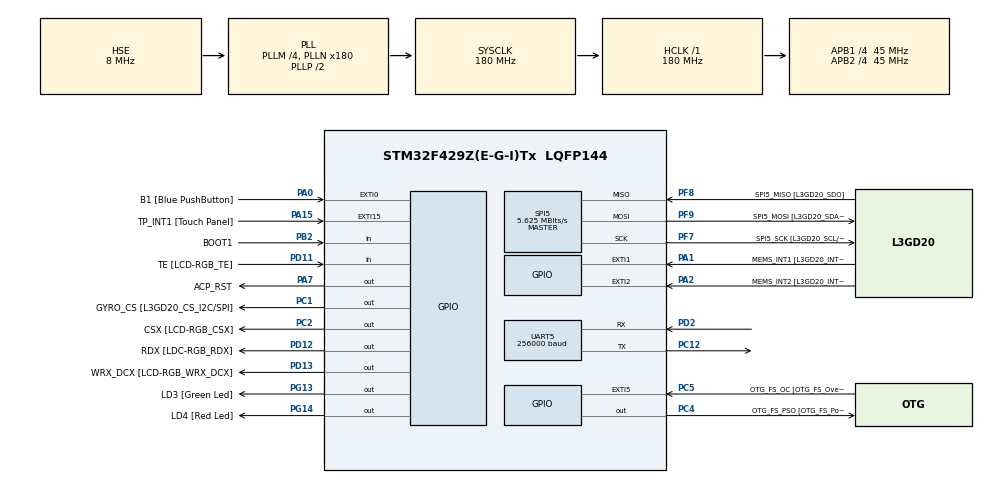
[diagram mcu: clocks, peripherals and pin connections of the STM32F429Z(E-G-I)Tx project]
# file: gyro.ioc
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Mcu.Family=STM32F4
Mcu.Name=STM32F429Z(E-G-I)Tx
Mcu.Package=LQFP144
NVIC.EXTI0_IRQn=true\:0\:0\:false\:false\:true
NVIC.EXTI2_IRQn=true\:0\:0\:false\:false\:true
NVIC.PriorityGroup=NVIC_PRIORITYGROUP_0
NVIC.UART5_IRQn=true\:0\:0\:false\:false\:true
PA0/WKUP.GPIO_Label=B1 [Blue PushButton]
PA0/WKUP.GPIO_ModeDefaultEXTI=GPIO_MODE_IT_RISING
PA0/WKUP.GPIO_PuPd=GPIO_NOPULL
PA0/WKUP.Signal=GPXTI0
PA1.GPIO_Label=MEMS_INT1 [L3GD20_INT1]
PA1.GPIO_ModeDefaultEXTI=GPIO_MODE_EVT_RISING
PA1.GPIO_PuPd=GPIO_NOPULL
PA1.Signal=GPXTI1
PA10.GPIO_Label=STLINK_TX [STM32F103CBT6_PA2]
PA10.Signal=USART1_RX
PA11.GPIO_Label=R4
PA11.GPIO_Mode=GPIO_MODE_AF_PP
PA11.GPIO_PuPd=GPIO_NOPULL
PA11.GPIO_Speed=GPIO_SPEED_FREQ_LOW
PA11.Signal=LTDC_R4
PA12.GPIO_Label=R5
PA12.GPIO_Mode=GPIO_MODE_AF_PP
PA12.GPIO_PuPd=GPIO_NOPULL
PA12.GPIO_Speed=GPIO_SPEED_FREQ_LOW
PA12.Signal=LTDC_R5
PA13.GPIO_Label=SWDIO
PA13.Signal=SYS_JTMS-SWDIO
PA14.GPIO_Label=SWCLK
PA14.Signal=SYS_JTCK-SWCLK
PA15.GPIO_Label=TP_INT1 [Touch Panel]
PA15.GPIO_ModeDefaultEXTI=GPIO_MODE_EVT_RISING
PA15.GPIO_PuPd=GPIO_NOPULL
PA15.Signal=GPXTI15
PA2.GPIO_Label=MEMS_INT2 [L3GD20_INT2]
PA2.GPIO_ModeDefaultEXTI=GPIO_MODE_IT_RISING
PA2.GPIO_PuPd=GPIO_NOPULL
PA2.Signal=GPXTI2
PA3.GPIO_Label=B5
PA3.GPIO_Mode=GPIO_MODE_AF_PP
PA3.GPIO_PuPd=GPIO_NOPULL
PA3.GPIO_Speed=GPIO_SPEED_FREQ_LOW
PA3.Signal=LTDC_B5
PA4.GPIO_Label=VSYNC
PA4.GPIO_Mode=GPIO_MODE_AF_PP
PA4.GPIO_PuPd=GPIO_NOPULL
PA4.GPIO_Speed=GPIO_SPEED_FREQ_LOW
PA4.Signal=LTDC_VSYNC
PA6.GPIO_Label=G2
PA6.GPIO_Mode=GPIO_MODE_AF_PP
PA6.GPIO_PuPd=GPIO_NOPULL
PA6.GPIO_Speed=GPIO_SPEED_FREQ_LOW
PA6.Signal=LTDC_G2
PA7.GPIO_Label=ACP_RST
PA7.GPIO_Mode=GPIO_MODE_OUTPUT_PP
PA7.GPIO_PuPd=GPIO_NOPULL
PA7.GPIO_Speed=GPIO_SPEED_FREQ_LOW
PA7.Signal=GPIO_Output
PA8.GPIO_Label=I2C3_SCL [ACP/RF_SCL]
PA8.GPIO_Mode=GPIO_MODE_AF_OD
PA8.GPIO_PuPd=GPIO_NOPULL
PA8.GPIO_Speed=GPIO_SPEED_FREQ_LOW
PA8.Signal=I2C3_SCL
PA9.GPIO_Label=STLINK_RX [STM32F103CBT6_PA3]
PA9.Signal=USART1_TX
PB0.GPIO_Label=R3
PB0.GPIO_Mode=GPIO_MODE_AF_PP
PB0.GPIO_PuPd=GPIO_NOPULL
PB0.GPIO_Speed=GPIO_SPEED_FREQ_LOW
PB0.Signal=LTDC_R3
PB1.GPIO_Label=R6
PB1.GPIO_Mode=GPIO_MODE_AF_PP
PB1.GPIO_PuPd=GPIO_NOPULL
PB1.GPIO_Speed=GPIO_SPEED_FREQ_LOW
PB1.Signal=LTDC_R6
PB10.GPIO_Label=G4
PB10.GPIO_Mode=GPIO_MODE_AF_PP
PB10.GPIO_PuPd=GPIO_NOPULL
PB10.GPIO_Speed=GPIO_SPEED_FREQ_LOW
PB10.Signal=LTDC_G4
PB11.GPIO_Label=G5
PB11.GPIO_Mode=GPIO_MODE_AF_PP
PB11.GPIO_PuPd=GPIO_NOPULL
PB11.GPIO_Speed=GPIO_SPEED_FREQ_LOW
PB11.Signal=LTDC_G5
PB12.GPIO_Label=OTG_FS_ID
PB12.GPIO_Mode=GPIO_MODE_AF_PP
PB12.GPIO_PuPd=GPIO_NOPULL
PB12.GPIO_Speed=GPIO_SPEED_FREQ_LOW
PB12.Signal=USB_OTG_HS_ID
PB13.GPIO_Label=VBUS_FS
PB13.GPIO_Mode=GPIO_MODE_INPUT
PB13.GPIO_PuPd=GPIO_NOPULL
PB13.Signal=USB_OTG_HS_VBUS
PB14.GPIO_Label=OTG_FS_DM
PB14.GPIO_Mode=GPIO_MODE_AF_PP
PB14.GPIO_PuPd=GPIO_NOPULL
PB14.GPIO_Speed=GPIO_SPEED_FREQ_LOW
PB14.Signal=USB_OTG_HS_DM
PB15.GPIO_Label=OTG_FS_DP
PB15.GPIO_Mode=GPIO_MODE_AF_PP
PB15.GPIO_PuPd=GPIO_NOPULL
PB15.GPIO_Speed=GPIO_SPEED_FREQ_LOW
PB15.Signal=USB_OTG_HS_DP
PB2/BOOT1.GPIO_Label=BOOT1
PB2/BOOT1.GPIO_Mode=GPIO_MODE_INPUT
PB2/BOOT1.GPIO_PuPd=GPIO_NOPULL
PB2/BOOT1.Signal=GPIO_Input
PB5.GPIO_Label=SDCKE1
PB5.GPIO_Mode=GPIO_MODE_AF_PP
PB5.GPIO_PuPd=GPIO_NOPULL
PB5.GPIO_Speed=GPIO_SPEED_FREQ_VERY_HIGH
PB5.Signal=FMC_SDCKE1
PB6.GPIO_Label=SDNE1 [SDRAM_CS]
PB6.GPIO_Mode=GPIO_MODE_AF_PP
PB6.GPIO_PuPd=GPIO_NOPULL
PB6.GPIO_Speed=GPIO_SPEED_FREQ_VERY_HIGH
PB6.Signal=FMC_SDNE1
PB8.GPIO_Label=B6
PB8.GPIO_Mode=GPIO_MODE_AF_PP
PB8.GPIO_PuPd=GPIO_NOPULL
PB8.GPIO_Speed=GPIO_SPEED_FREQ_LOW
PB8.Signal=LTDC_B6
PB9.GPIO_Label=B7
PB9.GPIO_Mode=GPIO_MODE_AF_PP
PB9.GPIO_PuPd=GPIO_NOPULL
PB9.GPIO_Speed=GPIO_SPEED_FREQ_LOW
PB9.Signal=LTDC_B7
PC0.GPIO_Label=SDNWE
PC0.GPIO_Mode=GPIO_MODE_AF_PP
PC0.GPIO_PuPd=GPIO_NOPULL
PC0.GPIO_Speed=GPIO_SPEED_FREQ_VERY_HIGH
PC0.Signal=FMC_SDNWE
PC1.GPIO_Label=GYRO_CS [L3GD20_CS_I2C/SPI]
PC1.GPIO_Mode=GPIO_MODE_OUTPUT_PP
PC1.GPIO_PuPd=GPIO_PULLDOWN
PC1.GPIO_Speed=GPIO_SPEED_FREQ_HIGH
PC1.PinState=GPIO_PIN_SET
PC1.Signal=GPIO_Output
PC10.GPIO_Label=R2
PC10.GPIO_Mode=GPIO_MODE_AF_PP
PC10.GPIO_PuPd=GPIO_NOPULL
PC10.GPIO_Speed=GPIO_SPEED_FREQ_LOW
PC10.Signal=LTDC_R2
PC12.Mode=Asynchronous
PC12.Signal=UART5_TX
PC14/OSC32_IN.GPIO_Label=PC14-OSC32_IN
PC14/OSC32_IN.Signal=RCC_OSC32_IN
PC15/OSC32_OUT.GPIO_Label=PC15-OSC32_OUT
PC15/OSC32_OUT.Signal=RCC_OSC32_OUT
PC2.GPIO_Label=CSX [LCD-RGB_CSX]
PC2.GPIO_Mode=GPIO_MODE_OUTPUT_PP
PC2.GPIO_PuPd=GPIO_NOPULL
PC2.GPIO_Speed=GPIO_SPEED_FREQ_LOW
PC2.Signal=GPIO_Output
PC4.GPIO_Label=OTG_FS_PSO [OTG_FS_PowerSwitchOn]
PC4.GPIO_Mode=GPIO_MODE_OUTPUT_PP
PC4.GPIO_PuPd=GPIO_NOPULL
PC4.GPIO_Speed=GPIO_SPEED_FREQ_LOW
PC4.Signal=GPIO_Output
PC5.GPIO_Label=OTG_FS_OC [OTG_FS_OverCurrent]
PC5.GPIO_ModeDefaultEXTI=GPIO_MODE_EVT_RISING
PC5.Signal=GPXTI5
PC6.GPIO_Label=HSYNC
PC6.GPIO_Mode=GPIO_MODE_AF_PP
PC6.GPIO_PuPd=GPIO_NOPULL
PC6.GPIO_Speed=GPIO_SPEED_FREQ_LOW
PC6.Signal=LTDC_HSYNC
PC7.GPIO_Label=G6
PC7.GPIO_Mode=GPIO_MODE_AF_PP
PC7.GPIO_PuPd=GPIO_NOPULL
PC7.GPIO_Speed=GPIO_SPEED_FREQ_LOW
PC7.Signal=LTDC_G6
PC9.GPIO_Label=I2C3_SDA [ACP/RF_SDA]
PC9.GPIO_Mode=GPIO_MODE_AF_OD
PC9.GPIO_PuPd=GPIO_NOPULL
PC9.GPIO_Speed=GPIO_SPEED_FREQ_LOW
PC9.Signal=I2C3_SDA
PD0.GPIO_Label=D2
PD0.GPIO_Mode=GPIO_MODE_AF_PP
PD0.GPIO_PuPd=GPIO_NOPULL
PD0.GPIO_Speed=GPIO_SPEED_FREQ_VERY_HIGH
PD0.Signal=FMC_D2_DA2
PD1.GPIO_Label=D3
PD1.GPIO_Mode=GPIO_MODE_AF_PP
PD1.GPIO_PuPd=GPIO_NOPULL
PD1.GPIO_Speed=GPIO_SPEED_FREQ_VERY_HIGH
PD1.Signal=FMC_D3_DA3
PD10.GPIO_Label=D15
PD10.GPIO_Mode=GPIO_MODE_AF_PP
PD10.GPIO_PuPd=GPIO_NOPULL
PD10.GPIO_Speed=GPIO_SPEED_FREQ_VERY_HIGH
PD10.Signal=FMC_D15_DA15
PD11.GPIO_Label=TE [LCD-RGB_TE]
PD11.GPIO_Mode=GPIO_MODE_INPUT
PD11.GPIO_PuPd=GPIO_NOPULL
PD11.Signal=GPIO_Input
PD12.GPIO_Label=RDX [LDC-RGB_RDX]
PD12.GPIO_Mode=GPIO_MODE_OUTPUT_PP
PD12.GPIO_PuPd=GPIO_NOPULL
PD12.GPIO_Speed=GPIO_SPEED_FREQ_LOW
PD12.Signal=GPIO_Output
PD13.GPIO_Label=WRX_DCX [LCD-RGB_WRX_DCX]
PD13.GPIO_Mode=GPIO_MODE_OUTPUT_PP
PD13.GPIO_PuPd=GPIO_NOPULL
PD13.GPIO_Speed=GPIO_SPEED_FREQ_LOW
PD13.Signal=GPIO_Output
PD14.GPIO_Label=D0
PD14.GPIO_Mode=GPIO_MODE_AF_PP
PD14.GPIO_PuPd=GPIO_NOPULL
PD14.GPIO_Speed=GPIO_SPEED_FREQ_VERY_HIGH
PD14.Signal=FMC_D0_DA0
PD15.GPIO_Label=D1
PD15.GPIO_Mode=GPIO_MODE_AF_PP
PD15.GPIO_PuPd=GPIO_NOPULL
PD15.GPIO_Speed=GPIO_SPEED_FREQ_VERY_HIGH
PD15.Signal=FMC_D1_DA1
PD2.Mode=Asynchronous
PD2.Signal=UART5_RX
PD3.GPIO_Label=G7
PD3.GPIO_Mode=GPIO_MODE_AF_PP
PD3.GPIO_PuPd=GPIO_NOPULL
PD3.GPIO_Speed=GPIO_SPEED_FREQ_LOW
PD3.Signal=LTDC_G7
PD6.GPIO_Label=B2
PD6.GPIO_Mode=GPIO_MODE_AF_PP
PD6.GPIO_PuPd=GPIO_NOPULL
PD6.GPIO_Speed=GPIO_SPEED_FREQ_LOW
PD6.Signal=LTDC_B2
PD8.GPIO_Label=D13
PD8.GPIO_Mode=GPIO_MODE_AF_PP
PD8.GPIO_PuPd=GPIO_NOPULL
PD8.GPIO_Speed=GPIO_SPEED_FREQ_VERY_HIGH
PD8.Signal=FMC_D13_DA13
PD9.GPIO_Label=D14
PD9.GPIO_Mode=GPIO_MODE_AF_PP
PD9.GPIO_PuPd=GPIO_NOPULL
PD9.GPIO_Speed=GPIO_SPEED_FREQ_VERY_HIGH
PD9.Signal=FMC_D14_DA14
PE0.GPIO_Label=NBL0 [SDRAM_LDQM]
PE0.GPIO_Mode=GPIO_MODE_AF_PP
PE0.GPIO_PuPd=GPIO_NOPULL
PE0.GPIO_Speed=GPIO_SPEED_FREQ_VERY_HIGH
PE0.Signal=FMC_NBL0
PE1.GPIO_Label=NBL1 [SDRAM_UDQM]
PE1.GPIO_Mode=GPIO_MODE_AF_PP
PE1.GPIO_PuPd=GPIO_NOPULL
PE1.GPIO_Speed=GPIO_SPEED_FREQ_VERY_HIGH
PE1.Signal=FMC_NBL1
PE10.GPIO_Label=D7
PE10.GPIO_Mode=GPIO_MODE_AF_PP
PE10.GPIO_PuPd=GPIO_NOPULL
PE10.GPIO_Speed=GPIO_SPEED_FREQ_VERY_HIGH
PE10.Signal=FMC_D7_DA7
PE11.GPIO_Label=D8
PE11.GPIO_Mode=GPIO_MODE_AF_PP
PE11.GPIO_PuPd=GPIO_NOPULL
PE11.GPIO_Speed=GPIO_SPEED_FREQ_VERY_HIGH
PE11.Signal=FMC_D8_DA8
PE12.GPIO_Label=D9
PE12.GPIO_Mode=GPIO_MODE_AF_PP
PE12.GPIO_PuPd=GPIO_NOPULL
PE12.GPIO_Speed=GPIO_SPEED_FREQ_VERY_HIGH
PE12.Signal=FMC_D9_DA9
PE13.GPIO_Label=D10
PE13.GPIO_Mode=GPIO_MODE_AF_PP
PE13.GPIO_PuPd=GPIO_NOPULL
PE13.GPIO_Speed=GPIO_SPEED_FREQ_VERY_HIGH
PE13.Signal=FMC_D10_DA10
PE14.GPIO_Label=D11
PE14.GPIO_Mode=GPIO_MODE_AF_PP
PE14.GPIO_PuPd=GPIO_NOPULL
PE14.GPIO_Speed=GPIO_SPEED_FREQ_VERY_HIGH
PE14.Signal=FMC_D11_DA11
PE15.GPIO_Label=D12
PE15.GPIO_Mode=GPIO_MODE_AF_PP
PE15.GPIO_PuPd=GPIO_NOPULL
PE15.GPIO_Speed=GPIO_SPEED_FREQ_VERY_HIGH
PE15.Signal=FMC_D12_DA12
PE7.GPIO_Label=D4
PE7.GPIO_Mode=GPIO_MODE_AF_PP
PE7.GPIO_PuPd=GPIO_NOPULL
PE7.GPIO_Speed=GPIO_SPEED_FREQ_VERY_HIGH
PE7.Signal=FMC_D4_DA4
PE8.GPIO_Label=D5
PE8.GPIO_Mode=GPIO_MODE_AF_PP
PE8.GPIO_PuPd=GPIO_NOPULL
PE8.GPIO_Speed=GPIO_SPEED_FREQ_VERY_HIGH
PE8.Signal=FMC_D5_DA5
PE9.GPIO_Label=D6
PE9.GPIO_Mode=GPIO_MODE_AF_PP
PE9.GPIO_PuPd=GPIO_NOPULL
PE9.GPIO_Speed=GPIO_SPEED_FREQ_VERY_HIGH
PE9.Signal=FMC_D6_DA6
PF0.GPIO_Label=A0
PF0.GPIO_Mode=GPIO_MODE_AF_PP
PF0.GPIO_PuPd=GPIO_NOPULL
PF0.GPIO_Speed=GPIO_SPEED_FREQ_VERY_HIGH
PF0.Signal=FMC_A0
PF1.GPIO_Label=A1
PF1.GPIO_Mode=GPIO_MODE_AF_PP
PF1.GPIO_PuPd=GPIO_NOPULL
PF1.GPIO_Speed=GPIO_SPEED_FREQ_VERY_HIGH
PF1.Signal=FMC_A1
PF10.GPIO_Label=ENABLE [LCD-RGB_ENABLE]
PF10.GPIO_Mode=GPIO_MODE_AF_PP
PF10.GPIO_PuPd=GPIO_NOPULL
PF10.GPIO_Speed=GPIO_SPEED_FREQ_LOW
PF10.Signal=LTDC_DE
PF11.GPIO_Label=SDNRAS
PF11.GPIO_Mode=GPIO_MODE_AF_PP
PF11.GPIO_PuPd=GPIO_NOPULL
PF11.GPIO_Speed=GPIO_SPEED_FREQ_VERY_HIGH
PF11.Signal=FMC_SDNRAS
PF12.GPIO_Label=A6
PF12.GPIO_Mode=GPIO_MODE_AF_PP
PF12.GPIO_PuPd=GPIO_NOPULL
PF12.GPIO_Speed=GPIO_SPEED_FREQ_VERY_HIGH
PF12.Signal=FMC_A6
PF13.GPIO_Label=A7
PF13.GPIO_Mode=GPIO_MODE_AF_PP
PF13.GPIO_PuPd=GPIO_NOPULL
PF13.GPIO_Speed=GPIO_SPEED_FREQ_VERY_HIGH
PF13.Signal=FMC_A7
PF14.GPIO_Label=A8
PF14.GPIO_Mode=GPIO_MODE_AF_PP
PF14.GPIO_PuPd=GPIO_NOPULL
PF14.GPIO_Speed=GPIO_SPEED_FREQ_VERY_HIGH
PF14.Signal=FMC_A8
PF15.GPIO_Label=A9
PF15.GPIO_Mode=GPIO_MODE_AF_PP
PF15.GPIO_PuPd=GPIO_NOPULL
PF15.GPIO_Speed=GPIO_SPEED_FREQ_VERY_HIGH
PF15.Signal=FMC_A9
PF2.GPIO_Label=A2
PF2.GPIO_Mode=GPIO_MODE_AF_PP
PF2.GPIO_PuPd=GPIO_NOPULL
PF2.GPIO_Speed=GPIO_SPEED_FREQ_VERY_HIGH
PF2.Signal=FMC_A2
PF3.GPIO_Label=A3
PF3.GPIO_Mode=GPIO_MODE_AF_PP
PF3.GPIO_PuPd=GPIO_NOPULL
PF3.GPIO_Speed=GPIO_SPEED_FREQ_VERY_HIGH
PF3.Signal=FMC_A3
PF4.GPIO_Label=A4
PF4.GPIO_Mode=GPIO_MODE_AF_PP
PF4.GPIO_PuPd=GPIO_NOPULL
PF4.GPIO_Speed=GPIO_SPEED_FREQ_VERY_HIGH
PF4.Signal=FMC_A4
PF5.GPIO_Label=A5
PF5.GPIO_Mode=GPIO_MODE_AF_PP
PF5.GPIO_PuPd=GPIO_NOPULL
PF5.GPIO_Speed=GPIO_SPEED_FREQ_VERY_HIGH
PF5.Signal=FMC_A5
PF7.GPIO_Label=SPI5_SCK [L3GD20_SCL/SPC]
PF7.GPIO_Mode=GPIO_MODE_AF_PP
PF7.GPIO_PuPd=GPIO_NOPULL
PF7.GPIO_Speed=GPIO_SPEED_FREQ_LOW
PF7.Mode=Full_Duplex_Master
PF7.Signal=SPI5_SCK
PF8.GPIO_Label=SPI5_MISO [L3GD20_SDO]
PF8.GPIO_Mode=GPIO_MODE_AF_PP
PF8.GPIO_PuPd=GPIO_NOPULL
PF8.GPIO_Speed=GPIO_SPEED_FREQ_LOW
PF8.Mode=Full_Duplex_Master
PF8.Signal=SPI5_MISO
PF9.GPIO_Label=SPI5_MOSI [L3GD20_SDA/SDI/SDO]
PF9.GPIO_Mode=GPIO_MODE_AF_PP
PF9.GPIO_PuPd=GPIO_NOPULL
PF9.GPIO_Speed=GPIO_SPEED_FREQ_LOW
PF9.Mode=Full_Duplex_Master
PF9.Signal=SPI5_MOSI
PG0.GPIO_Label=A10
PG0.GPIO_Mode=GPIO_MODE_AF_PP
PG0.GPIO_PuPd=GPIO_NOPULL
PG0.GPIO_Speed=GPIO_SPEED_FREQ_VERY_HIGH
PG0.Signal=FMC_A10
PG1.GPIO_Label=A11
PG1.GPIO_Mode=GPIO_MODE_AF_PP
PG1.GPIO_PuPd=GPIO_NOPULL
PG1.GPIO_Speed=GPIO_SPEED_FREQ_VERY_HIGH
PG1.Signal=FMC_A11
PG10.GPIO_Label=G3
PG10.GPIO_Mode=GPIO_MODE_AF_PP
PG10.GPIO_PuPd=GPIO_NOPULL
PG10.GPIO_Speed=GPIO_SPEED_FREQ_LOW
PG10.Signal=LTDC_G3
PG11.GPIO_Label=B3
PG11.GPIO_Mode=GPIO_MODE_AF_PP
PG11.GPIO_PuPd=GPIO_NOPULL
PG11.GPIO_Speed=GPIO_SPEED_FREQ_LOW
PG11.Signal=LTDC_B3
PG12.GPIO_Label=B4
PG12.GPIO_Mode=GPIO_MODE_AF_PP
PG12.GPIO_PuPd=GPIO_NOPULL
PG12.GPIO_Speed=GPIO_SPEED_FREQ_LOW
PG12.Signal=LTDC_B4
PG13.GPIO_Label=LD3 [Green Led]
PG13.GPIO_Mode=GPIO_MODE_OUTPUT_PP
PG13.GPIO_PuPd=GPIO_NOPULL
PG13.GPIO_Speed=GPIO_SPEED_FREQ_LOW
PG13.Signal=GPIO_Output
PG14.GPIO_Label=LD4 [Red Led]
PG14.GPIO_Mode=GPIO_MODE_OUTPUT_PP
PG14.GPIO_PuPd=GPIO_NOPULL
PG14.GPIO_Speed=GPIO_SPEED_FREQ_LOW
PG14.Signal=GPIO_Output
PG15.GPIO_Label=SDNCAS
PG15.GPIO_Mode=GPIO_MODE_AF_PP
PG15.GPIO_PuPd=GPIO_NOPULL
PG15.GPIO_Speed=GPIO_SPEED_FREQ_VERY_HIGH
PG15.Signal=FMC_SDNCAS
PG4.GPIO_Label=BA0
PG4.GPIO_Mode=GPIO_MODE_AF_PP
PG4.GPIO_PuPd=GPIO_NOPULL
PG4.GPIO_Speed=GPIO_SPEED_FREQ_VERY_HIGH
PG4.Signal=FMC_A14_BA0
PG5.GPIO_Label=BA1
PG5.GPIO_Mode=GPIO_MODE_AF_PP
PG5.GPIO_PuPd=GPIO_NOPULL
PG5.GPIO_Speed=GPIO_SPEED_FREQ_VERY_HIGH
PG5.Signal=FMC_A15_BA1
PG6.GPIO_Label=R7
PG6.GPIO_Mode=GPIO_MODE_AF_PP
PG6.GPIO_PuPd=GPIO_NOPULL
PG6.GPIO_Speed=GPIO_SPEED_FREQ_LOW
PG6.Signal=LTDC_R7
PG7.GPIO_Label=DOTCLK [LCT-RGB_DOTCLK]
PG7.GPIO_Mode=GPIO_MODE_AF_PP
PG7.GPIO_PuPd=GPIO_NOPULL
PG7.GPIO_Speed=GPIO_SPEED_FREQ_LOW
PG7.Signal=LTDC_CLK
PG8.GPIO_Label=SDCLK
PG8.GPIO_Mode=GPIO_MODE_AF_PP
PG8.GPIO_PuPd=GPIO_NOPULL
PG8.GPIO_Speed=GPIO_SPEED_FREQ_VERY_HIGH
PG8.Signal=FMC_SDCLK
PH0/OSC_IN.GPIO_Label=PH0-OSC_IN
PH0/OSC_IN.Mode=HSE-External-Oscillator
PH0/OSC_IN.Signal=RCC_OSC_IN
PH1/OSC_OUT.GPIO_Label=PH1-OSC_OUT
PH1/OSC_OUT.Mode=HSE-External-Oscillator
PH1/OSC_OUT.Signal=RCC_OSC_OUT
ProjectManager.HeapSize=0x200
ProjectManager.StackSize=0x400
ProjectManager.TargetToolchain=SW4STM32
RCC.48MHZClocksFreq_Value=51428571.428571425
RCC.AHBFreq_Value=180000000
RCC.APB1CLKDivider=RCC_HCLK_DIV4
RCC.APB1Freq_Value=45000000
RCC.APB1TimFreq_Value=90000000
RCC.APB2CLKDivider=RCC_HCLK_DIV4
RCC.APB2Freq_Value=45000000
RCC.APB2TimFreq_Value=90000000
RCC.CortexFreq_Value=180000000
RCC.HCLKFreq_Value=180000000
RCC.HSE_VALUE=8000000
RCC.HSI_VALUE=16000000
RCC.LSE_VALUE=32768
RCC.PLLM=4
RCC.PLLN=180
RCC.PLLQ=7
RCC.PLLSourceVirtual=RCC_PLLSOURCE_HSE
RCC.SYSCLKFreq_VALUE=180000000
RCC.SYSCLKSource=RCC_SYSCLKSOURCE_PLLCLK
RCC.VCOOutputFreq_Value=360000000
SH.FMC_A0.0=FMC_A0
SH.FMC_A1.0=FMC_A1
SH.FMC_A10.0=FMC_A10
SH.FMC_A11.0=FMC_A11
SH.FMC_A14_BA0.0=FMC_BA0
SH.FMC_A15_BA1.0=FMC_BA1
SH.FMC_A2.0=FMC_A2
SH.FMC_A3.0=FMC_A3
SH.FMC_A4.0=FMC_A4
SH.FMC_A5.0=FMC_A5
SH.FMC_A6.0=FMC_A6
SH.FMC_A7.0=FMC_A7
SH.FMC_A8.0=FMC_A8
SH.FMC_A9.0=FMC_A9
SH.FMC_D0_DA0.0=FMC_D0
SH.FMC_D10_DA10.0=FMC_D10
SH.FMC_D11_DA11.0=FMC_D11
SH.FMC_D12_DA12.0=FMC_D12
SH.FMC_D13_DA13.0=FMC_D13
SH.FMC_D14_DA14.0=FMC_D14
SH.FMC_D15_DA15.0=FMC_D15
SH.FMC_D1_DA1.0=FMC_D1
SH.FMC_D2_DA2.0=FMC_D2
SH.FMC_D3_DA3.0=FMC_D3
SH.FMC_D4_DA4.0=FMC_D4
SH.FMC_D5_DA5.0=FMC_D5
SH.FMC_D6_DA6.0=FMC_D6
SH.FMC_D7_DA7.0=FMC_D7
SH.FMC_D8_DA8.0=FMC_D8
SH.FMC_D9_DA9.0=FMC_D9
SH.FMC_NBL0.0=FMC_NBL0
SH.FMC_NBL1.0=FMC_NBL1
SH.FMC_SDCLK.0=FMC_SDCLK
SH.FMC_SDNCAS.0=FMC_SDNCAS
SH.FMC_SDNRAS.0=FMC_SDNRAS
SH.FMC_SDNWE.0=FMC_SDNWE
SPI5.BaudRatePrescaler=SPI_BAUDRATEPRESCALER_8
SPI5.CLKPhase=SPI_PHASE_2EDGE
SPI5.CLKPolarity=SPI_POLARITY_HIGH
SPI5.CalculateBaudRate=5.625 MBits/s
SPI5.DataSize=SPI_DATASIZE_8BIT
SPI5.Mode=SPI_MODE_MASTER
TIM7.Period=0xffff
TIM7.Prescaler=3
UART5.BaudRate=256000
VP_TIM7_VS_ClockSourceINT.Mode=Enable_Timer
board=STM32F429I-DISC1

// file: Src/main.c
/**
  ******************************************************************************
  * File Name          : main.c
  * Description        : Main program body
  ******************************************************************************
  *
  * COPYRIGHT(c) 2017 STMicroelectronics
  *
  * Redistribution and use in source and binary forms, with or without modification,
  * are permitted provided that the following conditions are met:
  *   1. Redistributions of source code must retain the above copyright notice,
  *      this list of conditions and the following disclaimer.
  *   2. Redistributions in binary form must reproduce the above copyright notice,
  *      this list of conditions and the following disclaimer in the documentation
  *      and/or other materials provided with the distribution.
  *   3. Neither the name of STMicroelectronics nor the names of its contributors
  *      may be used to endorse or promote products derived from this software
  *      without specific prior written permission.
  *
  * THIS SOFTWARE IS PROVIDED BY THE COPYRIGHT HOLDERS AND CONTRIBUTORS "AS IS"
  * AND ANY EXPRESS OR IMPLIED WARRANTIES, INCLUDING, BUT NOT LIMITED TO, THE
  * IMPLIED WARRANTIES OF MERCHANTABILITY AND FITNESS FOR A PARTICULAR PURPOSE ARE
  * DISCLAIMED. IN NO EVENT SHALL THE COPYRIGHT HOLDER OR CONTRIBUTORS BE LIABLE
  * FOR ANY DIRECT, INDIRECT, INCIDENTAL, SPECIAL, EXEMPLARY, OR CONSEQUENTIAL
  * DAMAGES (INCLUDING, BUT NOT LIMITED TO, PROCUREMENT OF SUBSTITUTE GOODS OR
  * SERVICES; LOSS OF USE, DATA, OR PROFITS; OR BUSINESS INTERRUPTION) HOWEVER
  * CAUSED AND ON ANY THEORY OF LIABILITY, WHETHER IN CONTRACT, STRICT LIABILITY,
  * OR TORT (INCLUDING NEGLIGENCE OR OTHERWISE) ARISING IN ANY WAY OUT OF THE USE
  * OF THIS SOFTWARE, EVEN IF ADVISED OF THE POSSIBILITY OF SUCH DAMAGE.
  *
  ******************************************************************************
  */
#include "stm32f4xx_hal.h"

/* USER CODE BEGIN Includes */
#include "main.h"

/* USER CODE END Includes */

SPI_HandleTypeDef hspi5;

TIM_HandleTypeDef htim7;

UART_HandleTypeDef huart5;

/* USER CODE BEGIN PV */
/* Private variables ---------------------------------------------------------*/
L3GD20_Init_Struct Gyro_Init;
L3GD20_out_reg_axes Gyro_data;
Gyro_out_axes  to;

uint8_t data;
char uart_data[8];

uint8_t flaga;
uint8_t conf = 0;
int time = 0;
double freq = 0;

/* USER CODE END PV */

void SystemClock_Config(void);
void Error_Handler(void);
static void MX_GPIO_Init(void);
static void MX_SPI5_Init(void);
static void MX_TIM7_Init(void);
static void MX_UART5_Init(void);

/* USER CODE BEGIN PFP */
/* Private function prototypes -----------------------------------------------*/
void MAIN_GYRO_INIT(void);
/* USER CODE END PFP */

int main(void)
{

  /* MCU Configuration----------------------------------------------------------*/

  /* Reset of all peripherals, Initializes the Flash interface and the Systick. */
  HAL_Init();

  /* Configure the system clock */
  SystemClock_Config();

  /* Initialize all configured peripherals */
  MX_GPIO_Init();
  MX_SPI5_Init();
  MX_TIM7_Init();
  MX_UART5_Init();

  /* USER CODE BEGIN 2 */

 // HAL_GPIO_WritePin(LD3_GPIO_Port,LD3_Pin, GPIO_PIN_SET);

  /* USER CODE END 2 */

  /* Infinite loop */
  /* USER CODE BEGIN WHILE */

  MAIN_GYRO_INIT();								//Gyroscope initialization

  HAL_TIM_Base_Start(&htim7);					//Start Tim7, data ready frequency
  L3GD20_Read_Axes(&Gyro_data, &Gyro_Init);		//First data read

  //HAL_UART_Transmit(&huart5,"AT+UART=38400,0,0,\r\n",22,500);

  while (1)
  {

  /* USER CODE END WHILE */

  /* USER CODE BEGIN 3 */

	  HAL_UART_Receive_IT(&huart5, &data, 1);

	  if(flaga & (1<<BUTTON_int_flag) && flaga & (1<<gyro_int_flag) &&  ~flaga & (1<<conf_int_flag))
	  {
		  HAL_UART_Receive_IT(&huart5, &data, 1);
		  flaga ^= 1<<gyro_int_flag;
		  //flaga ^= 1<<BUTTON_int_flag;
		  L3GD20_Read_Axes(&Gyro_data, &Gyro_Init);

		  uart_data[0] = (1<<START_BIT) | (Gyro_data.out_x_l & 1<<7)>>(7-BIT_X_L) | (Gyro_data.out_x_h & 1<<7)>>(7-BIT_X_H)
				  | (Gyro_data.out_y_l & 1<<7)>>(7-BIT_Y_L) | (Gyro_data.out_y_h & 1<<7)>>(7-BIT_Y_H)
				  | (Gyro_data.out_z_l & 1<<7)>>(7-BIT_Z_L) | (Gyro_data.out_z_h & 1<<7)>>(7-BIT_Z_H);

		  uart_data[2] = Gyro_data.out_x_l & 0x7F;
		  uart_data[3] = Gyro_data.out_x_h & 0x7F;
		  uart_data[4] = Gyro_data.out_y_l & 0x7F;
		  uart_data[5] = Gyro_data.out_y_h & 0x7F;
		  uart_data[6] = Gyro_data.out_z_l & 0x7F;
		  uart_data[7] = Gyro_data.out_z_h & 0x7F;

		  HAL_UART_Transmit(&huart5,uart_data,8,500);

		  to.x_axis = Gyro_data.out_x_l + (Gyro_data.out_x_h<<8);
		  to.y_axis = Gyro_data.out_y_l + (Gyro_data.out_y_h<<8);
		  to.z_axis = Gyro_data.out_z_l + (Gyro_data.out_z_h<<8);

	  }
	  if(flaga & 1<<conf_int_flag)
	  {
		  flaga ^= 1<<conf_int_flag;

		  if(L3GD20_Init(&Gyro_Init))
		  {
			  uart_data[1] = conf;
		  }
		  else
		  {
			  conf = uart_data[1];
		  }

		  if(~flaga & 1<<BUTTON_int_flag)
		  {
			  uart_data[0] = (1<<START_BIT);
			  uart_data[2] = 0;
			  uart_data[3] = 0;
			  uart_data[4] = 0;
			  uart_data[5] = 0;
			  uart_data[6] = 0;
			  uart_data[7] = 0;
			  HAL_UART_Transmit(&huart5,uart_data,8,500);
		  }
	  }
  }
  /* USER CODE END 3 */

}

/** System Clock Configuration
*/
void SystemClock_Config(void)
{

  RCC_OscInitTypeDef RCC_OscInitStruct;
  RCC_ClkInitTypeDef RCC_ClkInitStruct;

  __HAL_RCC_PWR_CLK_ENABLE();

  __HAL_PWR_VOLTAGESCALING_CONFIG(PWR_REGULATOR_VOLTAGE_SCALE1);

  RCC_OscInitStruct.OscillatorType = RCC_OSCILLATORTYPE_HSE;
  RCC_OscInitStruct.HSEState = RCC_HSE_ON;
  RCC_OscInitStruct.PLL.PLLState = RCC_PLL_ON;
  RCC_OscInitStruct.PLL.PLLSource = RCC_PLLSOURCE_HSE;
  RCC_OscInitStruct.PLL.PLLM = 4;
  RCC_OscInitStruct.PLL.PLLN = 180;
  RCC_OscInitStruct.PLL.PLLP = RCC_PLLP_DIV2;
  RCC_OscInitStruct.PLL.PLLQ = 7;
  if (HAL_RCC_OscConfig(&RCC_OscInitStruct) != HAL_OK)
  {
    Error_Handler();
  }

  if (HAL_PWREx_EnableOverDrive() != HAL_OK)
  {
    Error_Handler();
  }

  RCC_ClkInitStruct.ClockType = RCC_CLOCKTYPE_HCLK|RCC_CLOCKTYPE_SYSCLK
                              |RCC_CLOCKTYPE_PCLK1|RCC_CLOCKTYPE_PCLK2;
  RCC_ClkInitStruct.SYSCLKSource = RCC_SYSCLKSOURCE_PLLCLK;
  RCC_ClkInitStruct.AHBCLKDivider = RCC_SYSCLK_DIV1;
  RCC_ClkInitStruct.APB1CLKDivider = RCC_HCLK_DIV4;
  RCC_ClkInitStruct.APB2CLKDivider = RCC_HCLK_DIV4;
  if (HAL_RCC_ClockConfig(&RCC_ClkInitStruct, FLASH_LATENCY_5) != HAL_OK)
  {
    Error_Handler();
  }

  HAL_SYSTICK_Config(HAL_RCC_GetHCLKFreq()/1000);

  HAL_SYSTICK_CLKSourceConfig(SYSTICK_CLKSOURCE_HCLK);

  /* SysTick_IRQn interrupt configuration */
  HAL_NVIC_SetPriority(SysTick_IRQn, 0, 0);
}

/* SPI5 init function */
static void MX_SPI5_Init(void)
{

  hspi5.Instance = SPI5;
  hspi5.Init.Mode = SPI_MODE_MASTER;
  hspi5.Init.Direction = SPI_DIRECTION_2LINES;
  hspi5.Init.DataSize = SPI_DATASIZE_8BIT;
  hspi5.Init.CLKPolarity = SPI_POLARITY_HIGH;
  hspi5.Init.CLKPhase = SPI_PHASE_2EDGE;
  hspi5.Init.NSS = SPI_NSS_SOFT;
  hspi5.Init.BaudRatePrescaler = SPI_BAUDRATEPRESCALER_8;
  hspi5.Init.FirstBit = SPI_FIRSTBIT_MSB;
  hspi5.Init.TIMode = SPI_TIMODE_DISABLE;
  hspi5.Init.CRCCalculation = SPI_CRCCALCULATION_DISABLE;
  hspi5.Init.CRCPolynomial = 10;
  if (HAL_SPI_Init(&hspi5) != HAL_OK)
  {
    Error_Handler();
  }

}

/* TIM7 init function */
static void MX_TIM7_Init(void)
{

  TIM_MasterConfigTypeDef sMasterConfig;

  htim7.Instance = TIM7;
  htim7.Init.Prescaler = 19;
  htim7.Init.CounterMode = TIM_COUNTERMODE_UP;
  htim7.Init.Period = 0xffff;
  if (HAL_TIM_Base_Init(&htim7) != HAL_OK)
  {
    Error_Handler();
  }

  sMasterConfig.MasterOutputTrigger = TIM_TRGO_RESET;
  sMasterConfig.MasterSlaveMode = TIM_MASTERSLAVEMODE_DISABLE;
  if (HAL_TIMEx_MasterConfigSynchronization(&htim7, &sMasterConfig) != HAL_OK)
  {
    Error_Handler();
  }

}

/* UART5 init function */
static void MX_UART5_Init(void)
{

  huart5.Instance = UART5;
  huart5.Init.BaudRate = 230400;
  huart5.Init.WordLength = UART_WORDLENGTH_8B;
  huart5.Init.StopBits = UART_STOPBITS_1;
  huart5.Init.Parity = UART_PARITY_NONE;
  huart5.Init.Mode = UART_MODE_TX_RX;
  huart5.Init.HwFlowCtl = UART_HWCONTROL_NONE;
  huart5.Init.OverSampling = UART_OVERSAMPLING_16;
  if (HAL_UART_Init(&huart5) != HAL_OK)
  {
    Error_Handler();
  }

}

/** Configure pins as
        * Analog
        * Input
        * Output
        * EVENT_OUT
        * EXTI
     PF0   ------> FMC_A0
     PF1   ------> FMC_A1
     PF2   ------> FMC_A2
     PF3   ------> FMC_A3
     PF4   ------> FMC_A4
     PF5   ------> FMC_A5
     PF10   ------> LTDC_DE
     PC0   ------> FMC_SDNWE
     PA3   ------> LTDC_B5
     PA4   ------> LTDC_VSYNC
     PA6   ------> LTDC_G2
     PB0   ------> LTDC_R3
     PB1   ------> LTDC_R6
     PF11   ------> FMC_SDNRAS
     PF12   ------> FMC_A6
     PF13   ------> FMC_A7
     PF14   ------> FMC_A8
     PF15   ------> FMC_A9
     PG0   ------> FMC_A10
     PG1   ------> FMC_A11
     PE7   ------> FMC_D4_DA4
     PE8   ------> FMC_D5_DA5
     PE9   ------> FMC_D6_DA6
     PE10   ------> FMC_D7_DA7
     PE11   ------> FMC_D8_DA8
     PE12   ------> FMC_D9_DA9
     PE13   ------> FMC_D10_DA10
     PE14   ------> FMC_D11_DA11
     PE15   ------> FMC_D12_DA12
     PB10   ------> LTDC_G4
     PB11   ------> LTDC_G5
     PB12   ------> USB_OTG_HS_ID
     PB13   ------> USB_OTG_HS_VBUS
     PB14   ------> USB_OTG_HS_DM
     PB15   ------> USB_OTG_HS_DP
     PD8   ------> FMC_D13_DA13
     PD9   ------> FMC_D14_DA14
     PD10   ------> FMC_D15_DA15
     PD14   ------> FMC_D0_DA0
     PD15   ------> FMC_D1_DA1
     PG4   ------> FMC_A14_BA0
     PG5   ------> FMC_A15_BA1
     PG6   ------> LTDC_R7
     PG7   ------> LTDC_CLK
     PG8   ------> FMC_SDCLK
     PC6   ------> LTDC_HSYNC
     PC7   ------> LTDC_G6
     PC9   ------> I2C3_SDA
     PA8   ------> I2C3_SCL
     PA9   ------> USART1_TX
     PA10   ------> USART1_RX
     PA11   ------> LTDC_R4
     PA12   ------> LTDC_R5
     PC10   ------> LTDC_R2
     PD0   ------> FMC_D2_DA2
     PD1   ------> FMC_D3_DA3
     PD3   ------> LTDC_G7
     PD6   ------> LTDC_B2
     PG10   ------> LTDC_G3
     PG11   ------> LTDC_B3
     PG12   ------> LTDC_B4
     PG15   ------> FMC_SDNCAS
     PB5   ------> FMC_SDCKE1
     PB6   ------> FMC_SDNE1
     PB8   ------> LTDC_B6
     PB9   ------> LTDC_B7
     PE0   ------> FMC_NBL0
     PE1   ------> FMC_NBL1
*/
static void MX_GPIO_Init(void)
{

  GPIO_InitTypeDef GPIO_InitStruct;

  /* GPIO Ports Clock Enable */
  __HAL_RCC_GPIOC_CLK_ENABLE();
  __HAL_RCC_GPIOF_CLK_ENABLE();
  __HAL_RCC_GPIOH_CLK_ENABLE();
  __HAL_RCC_GPIOA_CLK_ENABLE();
  __HAL_RCC_GPIOB_CLK_ENABLE();
  __HAL_RCC_GPIOG_CLK_ENABLE();
  __HAL_RCC_GPIOE_CLK_ENABLE();
  __HAL_RCC_GPIOD_CLK_ENABLE();

  /*Configure GPIO pins : A0_Pin A1_Pin A2_Pin A3_Pin
                           A4_Pin A5_Pin SDNRAS_Pin A6_Pin
                           A7_Pin A8_Pin A9_Pin */
  GPIO_InitStruct.Pin = A0_Pin|A1_Pin|A2_Pin|A3_Pin
                          |A4_Pin|A5_Pin|SDNRAS_Pin|A6_Pin
                          |A7_Pin|A8_Pin|A9_Pin;
  GPIO_InitStruct.Mode = GPIO_MODE_AF_PP;
  GPIO_InitStruct.Pull = GPIO_NOPULL;
  GPIO_InitStruct.Speed = GPIO_SPEED_FREQ_VERY_HIGH;
  GPIO_InitStruct.Alternate = GPIO_AF12_FMC;
  HAL_GPIO_Init(GPIOF, &GPIO_InitStruct);

  /*Configure GPIO pin : ENABLE_Pin */
  GPIO_InitStruct.Pin = ENABLE_Pin;
  GPIO_InitStruct.Mode = GPIO_MODE_AF_PP;
  GPIO_InitStruct.Pull = GPIO_NOPULL;
  GPIO_InitStruct.Speed = GPIO_SPEED_FREQ_LOW;
  GPIO_InitStruct.Alternate = GPIO_AF14_LTDC;
  HAL_GPIO_Init(ENABLE_GPIO_Port, &GPIO_InitStruct);

  /*Configure GPIO pin : SDNWE_Pin */
  GPIO_InitStruct.Pin = SDNWE_Pin;
  GPIO_InitStruct.Mode = GPIO_MODE_AF_PP;
  GPIO_InitStruct.Pull = GPIO_NOPULL;
  GPIO_InitStruct.Speed = GPIO_SPEED_FREQ_VERY_HIGH;
  GPIO_InitStruct.Alternate = GPIO_AF12_FMC;
  HAL_GPIO_Init(SDNWE_GPIO_Port, &GPIO_InitStruct);

  /*Configure GPIO pin : GYRO_CS_Pin */
  GPIO_InitStruct.Pin = GYRO_CS_Pin;
  GPIO_InitStruct.Mode = GPIO_MODE_OUTPUT_PP;
  GPIO_InitStruct.Pull = GPIO_PULLDOWN;
  GPIO_InitStruct.Speed = GPIO_SPEED_FREQ_HIGH;
  HAL_GPIO_Init(GYRO_CS_GPIO_Port, &GPIO_InitStruct);

  /*Configure GPIO pins : CSX_Pin OTG_FS_PSO_Pin */
  GPIO_InitStruct.Pin = CSX_Pin|OTG_FS_PSO_Pin;
  GPIO_InitStruct.Mode = GPIO_MODE_OUTPUT_PP;
  GPIO_InitStruct.Pull = GPIO_NOPULL;
  GPIO_InitStruct.Speed = GPIO_SPEED_FREQ_LOW;
  HAL_GPIO_Init(GPIOC, &GPIO_InitStruct);

  /*Configure GPIO pins : B1_Pin MEMS_INT2_Pin */
  GPIO_InitStruct.Pin = B1_Pin|MEMS_INT2_Pin;
  GPIO_InitStruct.Mode = GPIO_MODE_IT_RISING;
  GPIO_InitStruct.Pull = GPIO_NOPULL;
  HAL_GPIO_Init(GPIOA, &GPIO_InitStruct);

  /*Configure GPIO pins : MEMS_INT1_Pin TP_INT1_Pin */
  GPIO_InitStruct.Pin = MEMS_INT1_Pin|TP_INT1_Pin;
  GPIO_InitStruct.Mode = GPIO_MODE_EVT_RISING;
  GPIO_InitStruct.Pull = GPIO_NOPULL;
  HAL_GPIO_Init(GPIOA, &GPIO_InitStruct);

  /*Configure GPIO pins : B5_Pin VSYNC_Pin G2_Pin R4_Pin
                           R5_Pin */
  GPIO_InitStruct.Pin = B5_Pin|VSYNC_Pin|G2_Pin|R4_Pin
                          |R5_Pin;
  GPIO_InitStruct.Mode = GPIO_MODE_AF_PP;
  GPIO_InitStruct.Pull = GPIO_NOPULL;
  GPIO_InitStruct.Speed = GPIO_SPEED_FREQ_LOW;
  GPIO_InitStruct.Alternate = GPIO_AF14_LTDC;
  HAL_GPIO_Init(GPIOA, &GPIO_InitStruct);

  /*Configure GPIO pin : ACP_RST_Pin */
  GPIO_InitStruct.Pin = ACP_RST_Pin;
  GPIO_InitStruct.Mode = GPIO_MODE_OUTPUT_PP;
  GPIO_InitStruct.Pull = GPIO_NOPULL;
  GPIO_InitStruct.Speed = GPIO_SPEED_FREQ_LOW;
  HAL_GPIO_Init(ACP_RST_GPIO_Port, &GPIO_InitStruct);

  /*Configure GPIO pin : OTG_FS_OC_Pin */
  GPIO_InitStruct.Pin = OTG_FS_OC_Pin;
  GPIO_InitStruct.Mode = GPIO_MODE_EVT_RISING;
  GPIO_InitStruct.Pull = GPIO_NOPULL;
  HAL_GPIO_Init(OTG_FS_OC_GPIO_Port, &GPIO_InitStruct);

  /*Configure GPIO pins : R3_Pin R6_Pin */
  GPIO_InitStruct.Pin = R3_Pin|R6_Pin;
  GPIO_InitStruct.Mode = GPIO_MODE_AF_PP;
  GPIO_InitStruct.Pull = GPIO_NOPULL;
  GPIO_InitStruct.Speed = GPIO_SPEED_FREQ_LOW;
  GPIO_InitStruct.Alternate = GPIO_AF9_LTDC;
  HAL_GPIO_Init(GPIOB, &GPIO_InitStruct);

  /*Configure GPIO pin : BOOT1_Pin */
  GPIO_InitStruct.Pin = BOOT1_Pin;
  GPIO_InitStruct.Mode = GPIO_MODE_INPUT;
  GPIO_InitStruct.Pull = GPIO_NOPULL;
  HAL_GPIO_Init(BOOT1_GPIO_Port, &GPIO_InitStruct);

  /*Configure GPIO pins : A10_Pin A11_Pin BA0_Pin BA1_Pin
                           SDCLK_Pin SDNCAS_Pin */
  GPIO_InitStruct.Pin = A10_Pin|A11_Pin|BA0_Pin|BA1_Pin
                          |SDCLK_Pin|SDNCAS_Pin;
  GPIO_InitStruct.Mode = GPIO_MODE_AF_PP;
  GPIO_InitStruct.Pull = GPIO_NOPULL;
  GPIO_InitStruct.Speed = GPIO_SPEED_FREQ_VERY_HIGH;
  GPIO_InitStruct.Alternate = GPIO_AF12_FMC;
  HAL_GPIO_Init(GPIOG, &GPIO_InitStruct);

  /*Configure GPIO pins : D4_Pin D5_Pin D6_Pin D7_Pin
                           D8_Pin D9_Pin D10_Pin D11_Pin
                           D12_Pin NBL0_Pin NBL1_Pin */
  GPIO_InitStruct.Pin = D4_Pin|D5_Pin|D6_Pin|D7_Pin
                          |D8_Pin|D9_Pin|D10_Pin|D11_Pin
                          |D12_Pin|NBL0_Pin|NBL1_Pin;
  GPIO_InitStruct.Mode = GPIO_MODE_AF_PP;
  GPIO_InitStruct.Pull = GPIO_NOPULL;
  GPIO_InitStruct.Speed = GPIO_SPEED_FREQ_VERY_HIGH;
  GPIO_InitStruct.Alternate = GPIO_AF12_FMC;
  HAL_GPIO_Init(GPIOE, &GPIO_InitStruct);

  /*Configure GPIO pins : G4_Pin G5_Pin B6_Pin B7_Pin */
  GPIO_InitStruct.Pin = G4_Pin|G5_Pin|B6_Pin|B7_Pin;
  GPIO_InitStruct.Mode = GPIO_MODE_AF_PP;
  GPIO_InitStruct.Pull = GPIO_NOPULL;
  GPIO_InitStruct.Speed = GPIO_SPEED_FREQ_LOW;
  GPIO_InitStruct.Alternate = GPIO_AF14_LTDC;
  HAL_GPIO_Init(GPIOB, &GPIO_InitStruct);

  /*Configure GPIO pins : OTG_FS_ID_Pin OTG_FS_DM_Pin OTG_FS_DP_Pin */
  GPIO_InitStruct.Pin = OTG_FS_ID_Pin|OTG_FS_DM_Pin|OTG_FS_DP_Pin;
  GPIO_InitStruct.Mode = GPIO_MODE_AF_PP;
  GPIO_InitStruct.Pull = GPIO_NOPULL;
  GPIO_InitStruct.Speed = GPIO_SPEED_FREQ_LOW;
  GPIO_InitStruct.Alternate = GPIO_AF12_OTG_HS_FS;
  HAL_GPIO_Init(GPIOB, &GPIO_InitStruct);

  /*Configure GPIO pin : VBUS_FS_Pin */
  GPIO_InitStruct.Pin = VBUS_FS_Pin;
  GPIO_InitStruct.Mode = GPIO_MODE_INPUT;
  GPIO_InitStruct.Pull = GPIO_NOPULL;
  HAL_GPIO_Init(VBUS_FS_GPIO_Port, &GPIO_InitStruct);

  /*Configure GPIO pins : D13_Pin D14_Pin D15_Pin D0_Pin
                           D1_Pin D2_Pin D3_Pin */
  GPIO_InitStruct.Pin = D13_Pin|D14_Pin|D15_Pin|D0_Pin
                          |D1_Pin|D2_Pin|D3_Pin;
  GPIO_InitStruct.Mode = GPIO_MODE_AF_PP;
  GPIO_InitStruct.Pull = GPIO_NOPULL;
  GPIO_InitStruct.Speed = GPIO_SPEED_FREQ_VERY_HIGH;
  GPIO_InitStruct.Alternate = GPIO_AF12_FMC;
  HAL_GPIO_Init(GPIOD, &GPIO_InitStruct);

  /*Configure GPIO pin : TE_Pin */
  GPIO_InitStruct.Pin = TE_Pin;
  GPIO_InitStruct.Mode = GPIO_MODE_INPUT;
  GPIO_InitStruct.Pull = GPIO_NOPULL;
  HAL_GPIO_Init(TE_GPIO_Port, &GPIO_InitStruct);

  /*Configure GPIO pins : RDX_Pin WRX_DCX_Pin */
  GPIO_InitStruct.Pin = RDX_Pin|WRX_DCX_Pin;
  GPIO_InitStruct.Mode = GPIO_MODE_OUTPUT_PP;
  GPIO_InitStruct.Pull = GPIO_NOPULL;
  GPIO_InitStruct.Speed = GPIO_SPEED_FREQ_LOW;
  HAL_GPIO_Init(GPIOD, &GPIO_InitStruct);

  /*Configure GPIO pins : R7_Pin DOTCLK_Pin B3_Pin */
  GPIO_InitStruct.Pin = R7_Pin|DOTCLK_Pin|B3_Pin;
  GPIO_InitStruct.Mode = GPIO_MODE_AF_PP;
  GPIO_InitStruct.Pull = GPIO_NOPULL;
  GPIO_InitStruct.Speed = GPIO_SPEED_FREQ_LOW;
  GPIO_InitStruct.Alternate = GPIO_AF14_LTDC;
  HAL_GPIO_Init(GPIOG, &GPIO_InitStruct);

  /*Configure GPIO pins : HSYNC_Pin G6_Pin R2_Pin */
  GPIO_InitStruct.Pin = HSYNC_Pin|G6_Pin|R2_Pin;
  GPIO_InitStruct.Mode = GPIO_MODE_AF_PP;
  GPIO_InitStruct.Pull = GPIO_NOPULL;
  GPIO_InitStruct.Speed = GPIO_SPEED_FREQ_LOW;
  GPIO_InitStruct.Alternate = GPIO_AF14_LTDC;
  HAL_GPIO_Init(GPIOC, &GPIO_InitStruct);

  /*Configure GPIO pin : PC9 */
  GPIO_InitStruct.Pin = GPIO_PIN_9;
  GPIO_InitStruct.Mode = GPIO_MODE_AF_OD;
  GPIO_InitStruct.Pull = GPIO_PULLUP;
  GPIO_InitStruct.Speed = GPIO_SPEED_FREQ_LOW;
  GPIO_InitStruct.Alternate = GPIO_AF4_I2C3;
  HAL_GPIO_Init(GPIOC, &GPIO_InitStruct);

  /*Configure GPIO pin : PA8 */
  GPIO_InitStruct.Pin = GPIO_PIN_8;
  GPIO_InitStruct.Mode = GPIO_MODE_AF_OD;
  GPIO_InitStruct.Pull = GPIO_PULLUP;
  GPIO_InitStruct.Speed = GPIO_SPEED_FREQ_LOW;
  GPIO_InitStruct.Alternate = GPIO_AF4_I2C3;
  HAL_GPIO_Init(GPIOA, &GPIO_InitStruct);

  /*Configure GPIO pins : STLINK_RX_Pin STLINK_TX_Pin */
  GPIO_InitStruct.Pin = STLINK_RX_Pin|STLINK_TX_Pin;
  GPIO_InitStruct.Mode = GPIO_MODE_AF_PP;
  GPIO_InitStruct.Pull = GPIO_NOPULL;
  GPIO_InitStruct.Speed = GPIO_SPEED_FREQ_VERY_HIGH;
  GPIO_InitStruct.Alternate = GPIO_AF7_USART1;
  HAL_GPIO_Init(GPIOA, &GPIO_InitStruct);

  /*Configure GPIO pins : G7_Pin B2_Pin */
  GPIO_InitStruct.Pin = G7_Pin|B2_Pin;
  GPIO_InitStruct.Mode = GPIO_MODE_AF_PP;
  GPIO_InitStruct.Pull = GPIO_NOPULL;
  GPIO_InitStruct.Speed = GPIO_SPEED_FREQ_LOW;
  GPIO_InitStruct.Alternate = GPIO_AF14_LTDC;
  HAL_GPIO_Init(GPIOD, &GPIO_InitStruct);

  /*Configure GPIO pins : G3_Pin B4_Pin */
  GPIO_InitStruct.Pin = G3_Pin|B4_Pin;
  GPIO_InitStruct.Mode = GPIO_MODE_AF_PP;
  GPIO_InitStruct.Pull = GPIO_NOPULL;
  GPIO_InitStruct.Speed = GPIO_SPEED_FREQ_LOW;
  GPIO_InitStruct.Alternate = GPIO_AF9_LTDC;
  HAL_GPIO_Init(GPIOG, &GPIO_InitStruct);

  /*Configure GPIO pins : LD3_Pin LD4_Pin */
  GPIO_InitStruct.Pin = LD3_Pin|LD4_Pin;
  GPIO_InitStruct.Mode = GPIO_MODE_OUTPUT_PP;
  GPIO_InitStruct.Pull = GPIO_NOPULL;
  GPIO_InitStruct.Speed = GPIO_SPEED_FREQ_LOW;
  HAL_GPIO_Init(GPIOG, &GPIO_InitStruct);

  /*Configure GPIO pins : SDCKE1_Pin SDNE1_Pin */
  GPIO_InitStruct.Pin = SDCKE1_Pin|SDNE1_Pin;
  GPIO_InitStruct.Mode = GPIO_MODE_AF_PP;
  GPIO_InitStruct.Pull = GPIO_NOPULL;
  GPIO_InitStruct.Speed = GPIO_SPEED_FREQ_VERY_HIGH;
  GPIO_InitStruct.Alternate = GPIO_AF12_FMC;
  HAL_GPIO_Init(GPIOB, &GPIO_InitStruct);

  /*Configure GPIO pin Output Level */
  HAL_GPIO_WritePin(GYRO_CS_GPIO_Port, GYRO_CS_Pin, GPIO_PIN_SET);

  /*Configure GPIO pin Output Level */
  HAL_GPIO_WritePin(GPIOC, CSX_Pin|OTG_FS_PSO_Pin, GPIO_PIN_RESET);

  /*Configure GPIO pin Output Level */
  HAL_GPIO_WritePin(ACP_RST_GPIO_Port, ACP_RST_Pin, GPIO_PIN_RESET);

  /*Configure GPIO pin Output Level */
  HAL_GPIO_WritePin(GPIOD, RDX_Pin|WRX_DCX_Pin, GPIO_PIN_RESET);

  /*Configure GPIO pin Output Level */
  HAL_GPIO_WritePin(GPIOG, LD3_Pin|LD4_Pin, GPIO_PIN_RESET);

  /* EXTI interrupt init*/
  HAL_NVIC_SetPriority(EXTI0_IRQn, 0, 0);
  HAL_NVIC_EnableIRQ(EXTI0_IRQn);

  HAL_NVIC_SetPriority(EXTI2_IRQn, 0, 0);
  HAL_NVIC_EnableIRQ(EXTI2_IRQn);

}

/* USER CODE BEGIN 4 */

void MAIN_GYRO_INIT(void)
{
	Gyro_Init.spi = &hspi5;
	Gyro_Init.CS_Port = GYRO_CS_GPIO_Port;
	Gyro_Init.CS_Pin = GYRO_CS_Pin;
	Gyro_Init.power_mode = L3GD20_MODE_ACTIVE;
	Gyro_Init.axes = L3GD20_AXES_ENABLE;
	Gyro_Init.endian_data = L3GD20_BLE_LSB;
	Gyro_Init.full_scale = L3GD20_FULLSCALE_2000;
	Gyro_Init.output_datarate = L3GD20_OUTPUT_DATARATE_760;
	Gyro_Init.high_pass_filter_status = L3GD20_HIGHPASSFILTER_ENABLE;
	Gyro_Init.int2_status = L3GD20_INT2INTERRUPT_ENABLE;

	if(L3GD20_Init(&Gyro_Init))
		  HAL_GPIO_WritePin(LD4_GPIO_Port,LD4_Pin,GPIO_PIN_SET);
	 else
	  {
		  HAL_GPIO_WritePin(LD3_GPIO_Port,LD3_Pin,GPIO_PIN_SET);
		  switch(Gyro_Init.full_scale)
		  {
		  	  case L3GD20_FULLSCALE_250:
		  	  {
		  		  conf |= FULLSCALE_BIT_250;
		  		  break;
		  	  }
		  	  case L3GD20_FULLSCALE_500:
		  	  {
		  		  conf |= FULLSCALE_BIT_500;
		  		  break;
		  	  }
		  	  case L3GD20_FULLSCALE_2000:
		  	  {
		  		  conf |= FULLSCALE_BIT_2000;
		  		  break;
		  	  }
		  }
		  switch(Gyro_Init.output_datarate)
		  {
		  	  case L3GD20_OUTPUT_DATARATE_95:
		  	  {
		  		  conf |= DATARATE_BIT_95;
		  		  break;
		  	  }
		  	  case L3GD20_OUTPUT_DATARATE_190:
		  	  {
		  		  conf |= DATARATE_BIT_190;
		  		  break;
		  	  }
		  	  case L3GD20_OUTPUT_DATARATE_380:
		  	  {
		  		  conf |= DATARATE_BIT_380;
		  		  break;
		  	  }
		  	  case L3GD20_OUTPUT_DATARATE_760:
		  	  {
		  		  conf |= DATARATE_BIT_760;
		  		  break;
		  	  }
		  }

		  uart_data[1] = conf;
	  }
}

void HAL_GPIO_EXTI_Callback(uint16_t GPIO_Pin)
{
	if(GPIO_Pin == GPIO_PIN_0)
	{

		flaga ^= 1<<BUTTON_int_flag;
		uart_data[1] ^= 1<<TRANSMITION_BIT;
		conf ^= 1<<TRANSMITION_BIT;

		if(flaga & 1<<BUTTON_int_flag)
			HAL_GPIO_WritePin(LD4_GPIO_Port,LD4_Pin,GPIO_PIN_SET);
		else
			HAL_GPIO_WritePin(LD4_GPIO_Port,LD4_Pin,GPIO_PIN_RESET);

	}
	else if(GPIO_Pin == GPIO_PIN_2)
	{
		flaga |= 1<<gyro_int_flag;						//set flag

		time = __HAL_TIM_GET_COUNTER(&htim7) + 1;		//
		__HAL_TIM_SET_COUNTER(&htim7,0);				//calculate freq of data ready

		freq = 45000000/10./time;

	}
}

void HAL_UART_RxCpltCallback(UART_HandleTypeDef *huart)
{
	if(data & 1<<TRANSMITION_BIT)
	{
		uart_data[1] |= 1<<TRANSMITION_BIT;
		conf |= 1<<TRANSMITION_BIT;
		flaga |= 1<<BUTTON_int_flag;
		HAL_GPIO_WritePin(LD4_GPIO_Port,LD4_Pin,GPIO_PIN_SET);
	}
	else
	{
		uart_data[1] &= (0xFF^(1<<TRANSMITION_BIT));
		conf &= (0xFF^(1<<TRANSMITION_BIT));
		flaga &= (0xFF^(1<<BUTTON_int_flag));
		HAL_GPIO_WritePin(LD4_GPIO_Port,LD4_Pin,GPIO_PIN_RESET);
	}
	if(data != uart_data[1] || !(data & 1<<TRANSMITION_BIT))
	{
		if(data != uart_data[1])
		{
			uart_data[1] = data;
			switch(data & FULLSCALE_MASK)
			{
				case FULLSCALE_BIT_250:
				{
					flaga |= 1<<conf_int_flag;
					Gyro_Init.full_scale = L3GD20_FULLSCALE_250;
					break;
				}
				case FULLSCALE_BIT_500:
				{
					flaga |= 1<<conf_int_flag;
					Gyro_Init.full_scale = L3GD20_FULLSCALE_500;
					break;
				}
				case FULLSCALE_BIT_2000:
				{
					flaga |= 1<<conf_int_flag;
					Gyro_Init.full_scale = L3GD20_FULLSCALE_2000;
					break;
				}
			}
			switch(data & DATARATE_MASK)
			{
				case DATARATE_BIT_95:
				{
					//flaga |= 1<<conf_int_flag;
					Gyro_Init.output_datarate = L3GD20_OUTPUT_DATARATE_95;
					break;
				}
				case DATARATE_BIT_190:
				{
					//flaga |= 1<<conf_int_flag;
					Gyro_Init.output_datarate = L3GD20_OUTPUT_DATARATE_190;
					break;
				}
				case DATARATE_BIT_380:
				{
					//flaga |= 1<<conf_int_flag;
					Gyro_Init.output_datarate = L3GD20_OUTPUT_DATARATE_380;
					break;
				}
				case DATARATE_BIT_760:
				{
					//flaga |= 1<<conf_int_flag;
					Gyro_Init.output_datarate = L3GD20_OUTPUT_DATARATE_760;
					break;
				}
			}
		}
		else
			flaga |= 1<<conf_int_flag;
	}

}

/* USER CODE END 4 */

void Error_Handler(void)
{
  while(1)
  {
  }
}

/************************ (C) COPYRIGHT STMicroelectronics *****END OF FILE****/
